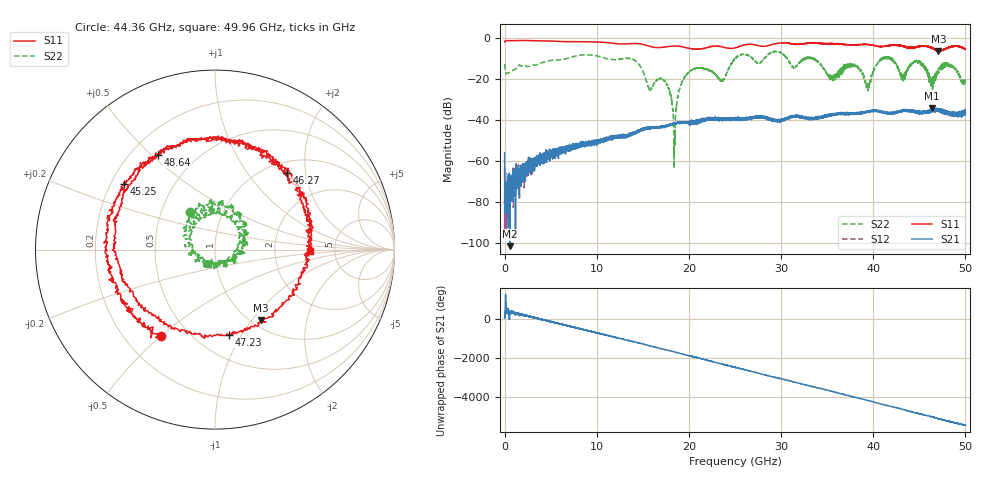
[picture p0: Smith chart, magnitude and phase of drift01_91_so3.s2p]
!Created with skrf (http://scikit-rf.org).
# Hz S RI R 50.0
!freq ReS11 ImS11 ReS21 ImS21 ReS12 ImS12 ReS22 ImS22
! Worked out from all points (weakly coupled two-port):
!   10001 points, 300 kHz to 50 GHz, reference 50 ohm
!   highest |S21| = -34.39 dB at 46.35 GHz (marker M1); lowest = -101.6 dB at 575.3 MHz (marker M2)
!   lowest |S11| = -6.6 dB at 47.07 GHz (marker M3), VSWR 2.76, Z = 55.1 - j55.3 ohm
!   |S11| at or under -10 dB: nowhere
!   |S22| runs from -63.6 to -6.7 dB; largest |S21 - S12| = 0.0041
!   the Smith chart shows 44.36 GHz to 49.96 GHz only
!   S11 on the Smith chart (normalised r, x): 44.36 GHz: 0.35, -0.50; 45.25 GHz: 0.25, +0.30; 46.27 GHz: 1.22, +1.59; 47.23 GHz: 0.71, -0.89; 48.64 GHz: 0.31, +0.52; 49.96 GHz: 3.26, -0.06
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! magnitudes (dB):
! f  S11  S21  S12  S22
! 300 kHz  -2.1  -56.1  -63.3  -12.9
! 575.3 MHz  -1.5  -101.6  -86.8  -16.8
! 8.335 GHz  -1.9  -52.0  -52.5  -8.5
! 16.67 GHz  -4.8  -43.7  -43.5  -20.0
! 17.74 GHz  -4.4  -42.5  -42.9  -24.0
! 18.44 GHz  -4.1  -41.8  -41.8  -49.9
! 19.9 GHz  -5.1  -41.5  -41.6  -17.2
! 23.61 GHz  -4.5  -39.6  -39.8  -20.5
! 25 GHz  -5.0  -39.5  -39.9  -10.3
! 33.34 GHz  -2.6  -39.5  -39.6  -9.8
! 39.46 GHz  -3.3  -35.6  -36.2  -23.3
! 41.67 GHz  -3.9  -36.8  -36.9  -9.9
! 43.19 GHz  -4.3  -35.8  -35.5  -19.3
! 44.36 GHz  -4.9  -36.1  -35.9  -12.0
! 45.25 GHz  -4.1  -36.4  -36.6  -12.1
! 46.27 GHz  -4.6  -35.5  -35.4  -23.3
! 46.35 GHz  -4.9  -34.4  -35.3  -21.0
! 47.07 GHz  -6.6  -35.0  -35.3  -16.3
! 47.23 GHz  -6.3  -35.4  -34.6  -15.3
! 48.64 GHz  -4.2  -37.2  -37.5  -14.3
! 49.96 GHz  -5.5  -36.0  -36.7  -20.8
! 50 GHz  -5.5  -36.0  -36.8  -22.0
